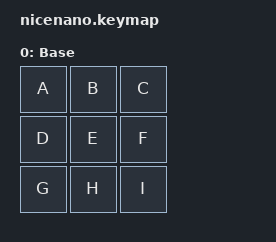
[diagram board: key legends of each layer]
// This file was generated from a template. Edit it to match your keyboard.
// See https://zmk.dev/docs/development/hardware-integration/new-shield for more instructions.

#include <behaviors.dtsi>
#include <dt-bindings/zmk/keys.h>
#include <dt-bindings/zmk/bt.h>

/ {
	keymap {
		compatible = "zmk,keymap";
		
		default_layer {
			display-name = "Base";
			bindings = <
			&kp A &kp B &kp C
			&kp D &kp E &kp F
			&kp G &kp H &kp I
			>;
		};
	};
};
